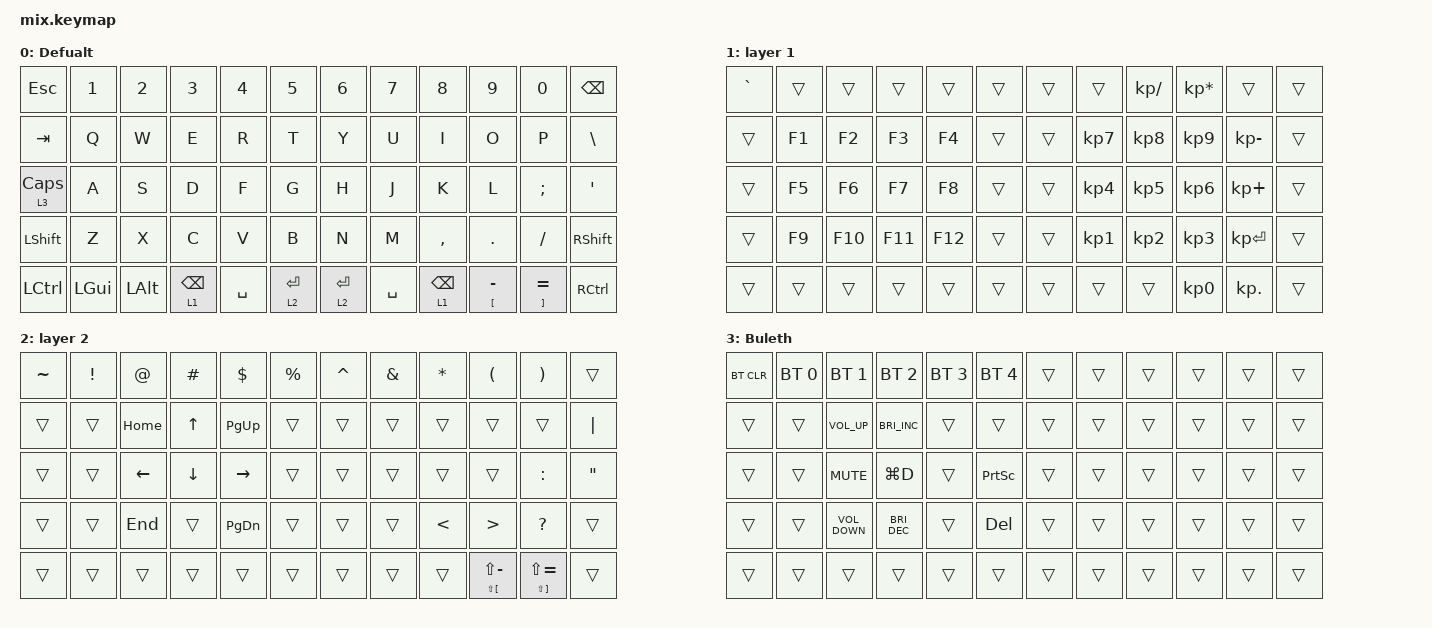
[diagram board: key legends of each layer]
/*
 * Copyright (c) 2020 The ZMK Contributors
 *
 * SPDX-License-Identifier: MIT
 */

#include <behaviors.dtsi>
#include <dt-bindings/zmk/bt.h>
#include <dt-bindings/zmk/keys.h>
#include <dt-bindings/zmk/pointing.h>

#define ZMK_POINTING_DEFAULT_SCRL_VAL 40

/ {
    combos {
        compatible = "zmk,combos";

        boot {
            bindings = <&bootloader>;
            key-positions = <0 11 54 53>;
        };
    };

    behaviors {
        encoder_sc: encoder_sc {
            compatible = "zmk,behavior-sensor-rotate-var";
            label = "ENCODER_SC";
            #sensor-binding-cells = <2>;
            bindings = <&msc>, <&msc>;

            tap-ms = <40>;
        };
    };

    keymap {
        compatible = "zmk,keymap";

        LAYER0 {
            display-name = "Defualt";
            bindings = <
&kp ESCAPE      &kp N1        &kp N2        &kp N3           &kp NUMBER_4  &kp N5       &kp NUMBER_6  &kp N7     &kp N8           &kp N9                  &kp N0                   &kp BSPC
&kp TAB         &kp Q         &kp W         &kp E            &kp R         &kp T        &kp Y         &kp U      &kp I            &kp O                   &kp P                    &kp BACKSLASH
&lt 3 CAPSLOCK  &kp A         &kp S         &kp D            &kp F         &kp G        &kp H         &kp J      &kp K            &kp L                   &kp SEMICOLON            &kp SQT
&kp LSHFT       &kp Z         &kp X         &kp C            &kp V         &kp B        &kp N         &kp M      &kp COMMA        &kp DOT                 &kp FSLH                 &kp RSHFT
&kp LCTRL       &kp LEFT_GUI  &kp LEFT_ALT  &lt 1 BACKSPACE  &kp SPACE     &lt 2 ENTER  &lt 2 ENTER   &kp SPACE  &lt 1 BACKSPACE  &mt LEFT_BRACKET MINUS  &mt RIGHT_BRACKET EQUAL  &kp RCTRL
            >;
        };

        LAYER1 {
            display-name = "layer 1";
            bindings = <
&kp GRAVE  &trans  &trans   &trans   &trans   &trans  &trans  &trans           &kp KP_DIVIDE    &kp KP_MULTIPLY  &trans        &trans
&trans     &kp F1  &kp F2   &kp F3   &kp F4   &trans  &trans  &kp KP_NUMBER_7  &kp KP_NUMBER_8  &kp KP_NUMBER_9  &kp KP_MINUS  &trans
&trans     &kp F5  &kp F6   &kp F7   &kp F8   &trans  &trans  &kp KP_NUMBER_4  &kp KP_NUMBER_5  &kp KP_NUMBER_6  &kp KP_PLUS   &trans
&trans     &kp F9  &kp F10  &kp F11  &kp F12  &trans  &trans  &kp KP_NUMBER_1  &kp KP_NUMBER_2  &kp KP_NUMBER_3  &kp KP_ENTER  &trans
&trans     &trans  &trans   &trans   &trans   &trans  &trans  &trans           &trans           &kp KP_NUMBER_0  &kp KP_DOT    &trans
            >;
        };

        LAYER2 {
            display-name = "layer 2";
            bindings = <
&kp TILDE  &kp EXCLAMATION  &kp AT_SIGN  &kp HASH  &kp DOLLAR     &kp PERCENT  &kp CARET  &kp AMPERSAND  &kp ASTERISK   &kp LEFT_PARENTHESIS            &kp RIGHT_PARENTHESIS            &trans
&trans     &trans           &kp HOME     &kp UP    &kp PAGE_UP    &trans       &trans     &trans         &trans         &trans                          &trans                           &kp PIPE
&trans     &trans           &kp LEFT     &kp DOWN  &kp RIGHT      &trans       &trans     &trans         &trans         &trans                          &kp COLON                        &kp DOUBLE_QUOTES
&trans     &trans           &kp END      &trans    &kp PAGE_DOWN  &trans       &trans     &trans         &kp LESS_THAN  &kp GREATER_THAN                &kp QUESTION                     &trans
&trans     &trans           &trans       &trans    &trans         &trans       &trans     &trans         &trans         &mt LS(LEFT_BRACKET) LS(MINUS)  &mt LS(RIGHT_BRACKET) LS(EQUAL)  &trans
            >;
        };

        LAYER3 {
            display-name = "Buleth";
            bindings = <
&bt BT_CLR  &bt BT_SEL 0  &bt BT_SEL 1       &bt BT_SEL 2          &bt BT_SEL 3  &bt BT_SEL 4     &trans  &trans  &trans  &trans  &trans  &trans
&trans      &trans        &kp C_VOLUME_UP    &kp C_BRIGHTNESS_INC  &trans        &trans           &trans  &trans  &trans  &trans  &trans  &trans
&trans      &trans        &kp C_MUTE         &kp LG(D)             &trans        &kp PRINTSCREEN  &trans  &trans  &trans  &trans  &trans  &trans
&trans      &trans        &kp C_VOLUME_DOWN  &kp C_BRIGHTNESS_DEC  &trans        &kp DELETE       &trans  &trans  &trans  &trans  &trans  &trans
&trans      &trans        &trans             &trans                &trans        &trans           &trans  &trans  &trans  &trans  &trans  &trans
            >;
        };
    };
};
